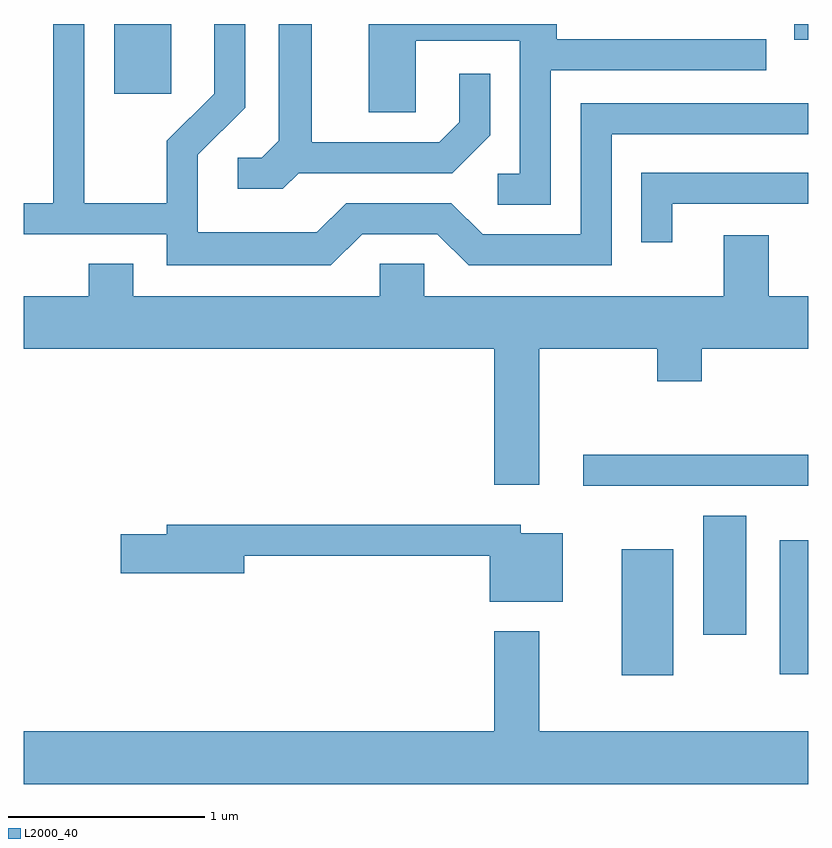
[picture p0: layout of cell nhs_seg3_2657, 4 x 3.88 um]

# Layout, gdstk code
import gdstk
lib = gdstk.Library(unit=1e-6, precision=1e-09)
def R(c, l, rs):  # rectangles x0, y0, x1, y1
    for r in rs: c.add(gdstk.rectangle(r[:2], r[2:], *l))
def P(c, l, *ps):  # polygons
    for p in ps: c.add(gdstk.Polygon(p, *l))
L2000_40 = (2000, 40)

nhs_seg3_2657 = lib.new_cell('nhs_seg3_2657')
R(nhs_seg3_2657, L2000_40, [(266.661,1126.571,266.924,1127.214), (267.466,1126.576,267.611,1127.259), (267.076,1126.776,267.294,1127.384), (266.463,1127.536,267.611,1127.694), (264.071,1129.536,264.364,1129.892), (267.541,1129.811,267.611,1129.892)])
P(nhs_seg3_2657, L2000_40, [(265.012,1129.131),(265.797,1129.131),(265.989,1129.324),(265.989,1129.638),(265.831,1129.638),(265.831,1129.392),(265.729,1129.289),(265.079,1129.289),(265.079,1129.892),(264.911,1129.892),(264.911,1129.297),(264.824,1129.209),(264.703,1129.209),(264.703,1129.051),(264.932,1129.051)],
  [(265.337,1128.821),(265.719,1128.821),(265.879,1128.661),(266.609,1128.661),(266.609,1129.331),(267.611,1129.331),(267.611,1129.489),(266.451,1129.489),(266.451,1128.819),(265.952,1128.819),(265.792,1128.979),(265.254,1128.979),(265.104,1128.829),(264.499,1128.829),(264.499,1129.224),(264.739,1129.464),(264.739,1129.892),(264.581,1129.892),(264.581,1129.537),(264.341,1129.297),(264.341,1128.979),(263.919,1128.979),(263.919,1129.892),(263.761,1129.892),(263.761,1128.979),(263.611,1128.979),(263.611,1128.821),(264.341,1128.821),(264.341,1128.661),(265.177,1128.661)],
  [(266.299,1129.656),(267.398,1129.656),(267.398,1129.814),(266.329,1129.814),(266.329,1129.892),(265.371,1129.892),(265.371,1129.441),(265.609,1129.441),(265.609,1129.806),(266.141,1129.806),(266.141,1129.129),(266.028,1129.129),(266.028,1128.971),(266.299,1128.971)],
  [(266.919,1128.976),(267.611,1128.976),(267.611,1129.134),(266.761,1129.134),(266.761,1128.778),(266.919,1128.778)],
  [(266.239,1128.236),(266.841,1128.236),(266.841,1128.071),(267.069,1128.071),(267.069,1128.236),(267.611,1128.236),(267.611,1128.504),(267.409,1128.504),(267.409,1128.814),(267.181,1128.814),(267.181,1128.504),(265.654,1128.504),(265.654,1128.669),(265.426,1128.669),(265.426,1128.504),(264.169,1128.504),(264.169,1128.669),(263.941,1128.669),(263.941,1128.504),(263.611,1128.504),(263.611,1128.236),(266.011,1128.236),(266.011,1127.541),(266.239,1127.541)],
  [(266.359,1127.294),(266.144,1127.294),(266.144,1127.339),(264.341,1127.339),(264.341,1127.289),(264.106,1127.289),(264.106,1127.091),(264.734,1127.091),(264.734,1127.181),(265.986,1127.181),(265.986,1126.946),(266.359,1126.946)],
  [(267.611,1126.284),(266.239,1126.284),(266.239,1126.794),(266.011,1126.794),(266.011,1126.284),(263.611,1126.284),(263.611,1126.016),(267.611,1126.016)])

lib.write_gds('nhs_seg3_2657.gds')
